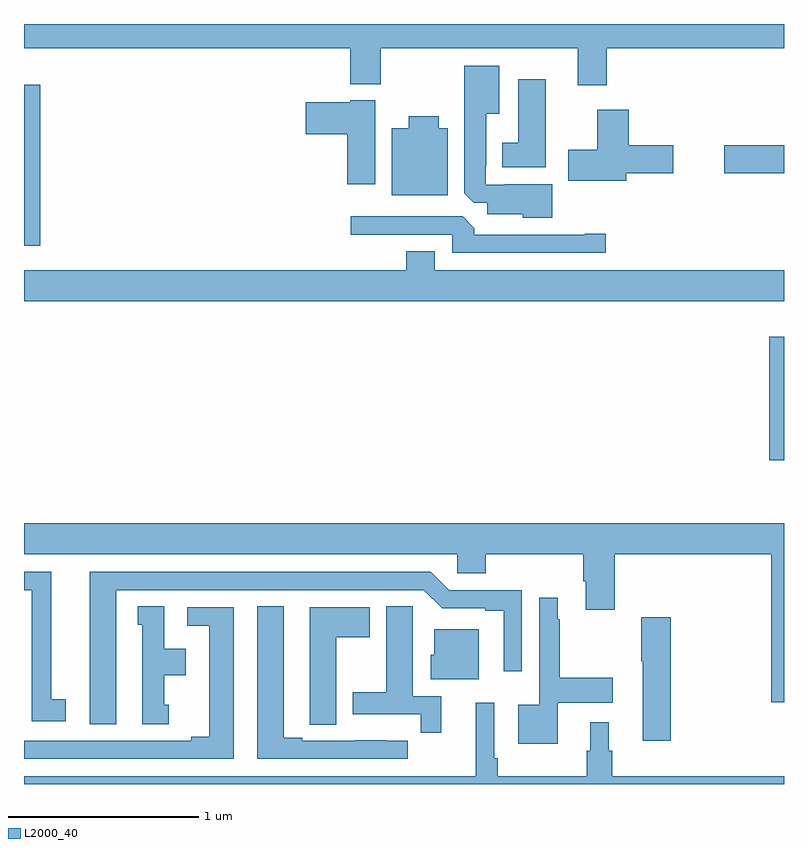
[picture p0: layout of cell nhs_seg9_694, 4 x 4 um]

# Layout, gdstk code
import gdstk
lib = gdstk.Library(unit=1e-6, precision=1e-09)
def R(c, l, rs):  # rectangles x0, y0, x1, y1
    for r in rs: c.add(gdstk.rectangle(r[:2], r[2:], *l))
def P(c, l, *ps):  # polygons
    for p in ps: c.add(gdstk.Polygon(p, *l))
L2000_40 = (2000, 40)

nhs_seg9_694 = lib.new_cell('nhs_seg9_694')
R(nhs_seg9_694, L2000_40, [(148.922,1242.204,149,1242.853), (145,1243.332,145.085,1244.179), (148.686,1243.715,149,1243.862)])
P(nhs_seg9_694, L2000_40, [(148.067,1244.372),(149,1244.372),(149,1244.5),(145,1244.5),(145,1244.372),(146.717,1244.372),(146.717,1244.183),(146.877,1244.183),(146.877,1244.372),(147.914,1244.372),(147.914,1244.178),(148.067,1244.178)],
  [(147.781,1243.657),(147.529,1243.657),(147.529,1243.653),(147.429,1243.653),(147.429,1243.753),(147.433,1243.753),(147.433,1244.027),(147.502,1244.027),(147.502,1244.281),(147.317,1244.281),(147.317,1243.609),(147.366,1243.56),(147.437,1243.56),(147.437,1243.499),(147.624,1243.499),(147.624,1243.481),(147.781,1243.481)],
  [(147.745,1244.209),(147.602,1244.209),(147.602,1243.876),(147.518,1243.876),(147.518,1243.745),(147.745,1243.745)],
  [(146.848,1244.098),(146.718,1244.098),(146.718,1244.089),(146.484,1244.089),(146.484,1243.919),(146.702,1243.919),(146.702,1243.656),(146.848,1243.656)],
  [(148.171,1243.715),(148.417,1243.715),(148.417,1243.862),(148.184,1243.862),(148.184,1244.05),(148.016,1244.05),(148.016,1243.839),(147.864,1243.839),(147.864,1243.676),(148.171,1243.676)],
  [(147.229,1243.951),(147.184,1243.951),(147.184,1244.014),(147.026,1244.014),(147.026,1243.951),(146.936,1243.951),(146.936,1243.598),(147.229,1243.598)],
  [(148.063,1243.397),(147.95,1243.397),(147.95,1243.392),(147.371,1243.392),(147.371,1243.426),(147.309,1243.488),(146.721,1243.488),(146.721,1243.392),(147.255,1243.392),(147.255,1243.296),(148.063,1243.296)],
  [(149,1243.204),(147.163,1243.204),(147.163,1243.303),(147.011,1243.303),(147.011,1243.204),(145,1243.204),(145,1243.04),(149,1243.04)],
  [(149,1241.872),(145,1241.872),(145,1241.708),(147.279,1241.708),(147.279,1241.61),(147.431,1241.61),(147.431,1241.708),(147.944,1241.708),(147.944,1241.566),(147.956,1241.566),(147.956,1241.418),(148.109,1241.418),(148.109,1241.708),(148.934,1241.708),(148.934,1240.929),(149,1240.929)],
  [(145.219,1240.946),(145.144,1240.946),(145.144,1241.616),(145,1241.616),(145,1241.52),(145.04,1241.52),(145.04,1240.83),(145.219,1240.83)],
  [(145.486,1241.52),(147.105,1241.52),(147.201,1241.424),(147.428,1241.424),(147.428,1241.412),(147.524,1241.412),(147.524,1241.094),(147.621,1241.094),(147.621,1241.52),(147.237,1241.52),(147.141,1241.616),(145.346,1241.616),(145.346,1240.815),(145.486,1240.815)],
  [(147.808,1240.928),(148.099,1240.928),(148.099,1241.058),(147.82,1241.058),(147.82,1241.366),(147.808,1241.366),(147.808,1241.479),(147.711,1241.479),(147.711,1240.918),(147.602,1240.918),(147.602,1240.712),(147.808,1240.712)],
  [(147.197,1240.962),(147.046,1240.962),(147.046,1241.324),(147.045,1241.324),(147.045,1241.435),(146.906,1241.435),(146.906,1240.983),(146.729,1240.983),(146.729,1240.866),(147.088,1240.866),(147.088,1240.77),(147.197,1240.77)],
  [(147.019,1240.728),(146.906,1240.728),(146.906,1240.729),(146.74,1240.729),(146.74,1240.728),(146.464,1240.728),(146.464,1240.743),(146.368,1240.743),(146.368,1241.435),(146.228,1241.435),(146.228,1240.632),(147.019,1240.632)],
  [(145.762,1240.917),(145.738,1240.917),(145.738,1241.072),(145.852,1241.072),(145.852,1241.212),(145.738,1241.212),(145.738,1241.435),(145.598,1241.435),(145.598,1241.337),(145.622,1241.337),(145.622,1240.815),(145.762,1240.815)],
  [(146.644,1241.272),(146.821,1241.272),(146.821,1241.431),(146.504,1241.431),(146.504,1240.921),(146.505,1240.921),(146.505,1240.813),(146.644,1240.813)],
  [(146.104,1241.43),(145.86,1241.43),(145.86,1241.334),(145.976,1241.334),(145.976,1240.748),(145.88,1240.748),(145.88,1240.728),(145,1240.728),(145,1240.632),(146.104,1240.632)],
  [(148.403,1241.377),(148.249,1241.377),(148.249,1241.146),(148.256,1241.146),(148.256,1240.728),(148.403,1240.728)],
  [(147.394,1241.314),(147.158,1241.314),(147.158,1241.181),(147.14,1241.181),(147.14,1241.051),(147.394,1241.051)],
  [(149,1240.54),(148.097,1240.54),(148.097,1240.674),(148.078,1240.674),(148.078,1240.825),(147.98,1240.825),(147.98,1240.674),(147.961,1240.674),(147.961,1240.54),(147.494,1240.54),(147.494,1240.636),(147.474,1240.636),(147.474,1240.927),(147.377,1240.927),(147.377,1240.54),(145,1240.54),(145,1240.5),(149,1240.5)])

lib.write_gds('nhs_seg9_694.gds')
